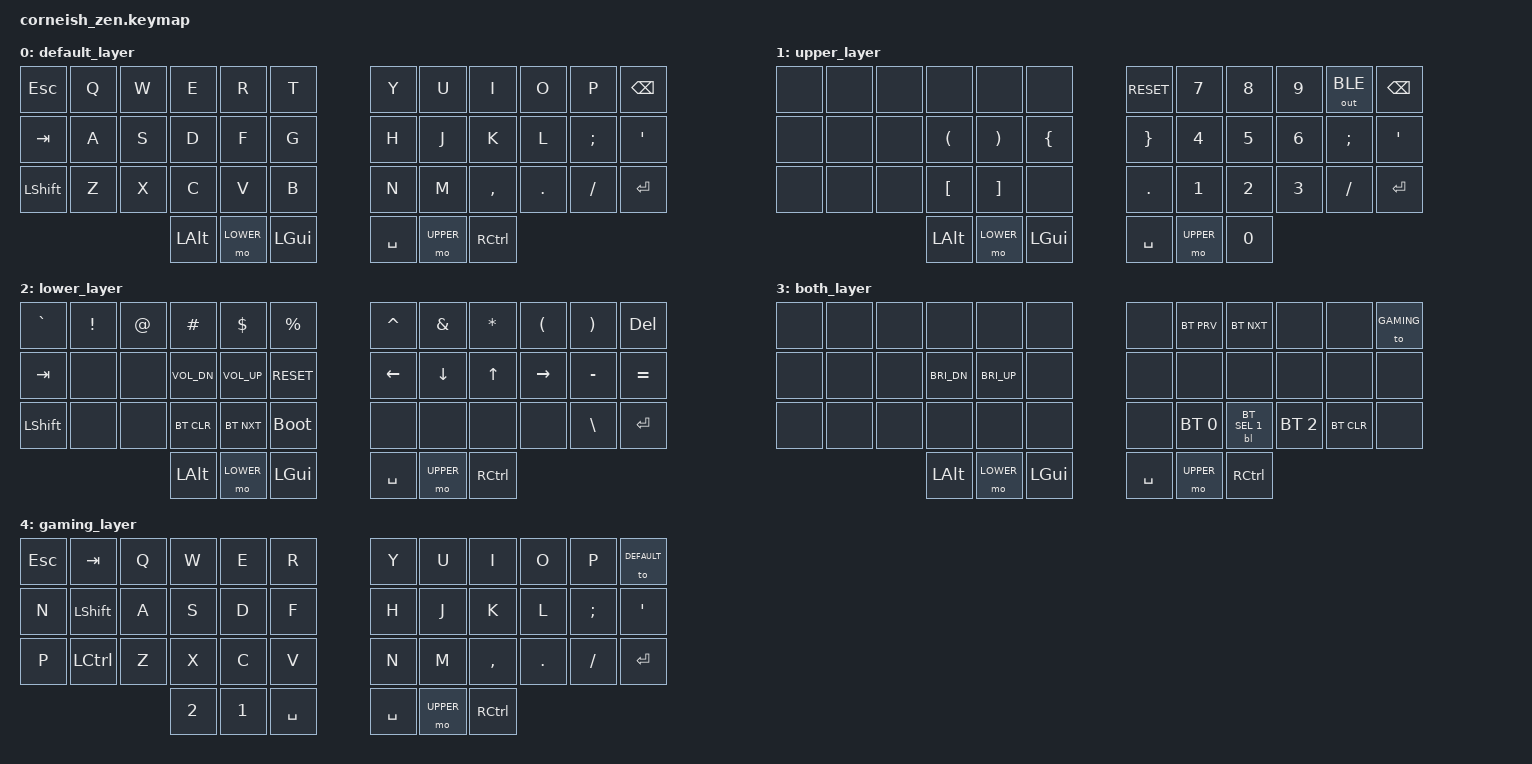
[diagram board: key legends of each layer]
/*
*
* Copyright (c) 2021 Darryl deHaan
* SPDX-License-Identifier: MIT
*
*/

#include <behaviors.dtsi>
#include <dt-bindings/zmk/keys.h>
#include <dt-bindings/zmk/bt.h>

#define DEFAULT 0
#define UPPER 1
#define LOWER 2
#define BOTH 3
#define GAMING 4

/ {
    chosen {
        zmk,matrix-transform = &default_transform;
        // zmk,matrix-transform = &five_column_transform;
    };
};

/ {

    conditional_layers {
        compatible = "zmk,conditional-layers";
        try_layer {
            if-layers = <1 2>;
            then-layer = <3>;
        };
    };

    keymap {
        compatible = "zmk,keymap";

        default_layer {
// --------------------------------------------------------------------------------------------------------------------------------------------------------------------
// |   ESC   |    Q    |    W    |    E    |    R    |    T    |                                          |    Y    |    U    |    I    |    O    |    P    |   BACK  |
// |   TAB   |    A    |    S    |    D    |    F    |    G    |                                          |    H    |    J    |    K    |    L    |    ;    |    '    |
// |  SHIFT  |    Z    |    X    |    C    |    V    |    B    |                                          |    N    |    M    |    ,    |    .    |    /    |  RETURN |
//           |         |         |   ALT   |  LOWER  |   CMD   |                                          |  SPACE  |  UPPER  |   CTRL  |         |         |
            bindings = <
    &kp ESC    &kp Q    &kp W      &kp E    &kp R     &kp T                                                 &kp Y     &kp U     &kp I     &kp O    &kp P     &kp BSPC
    &kp TAB    &kp A    &kp S      &kp D    &kp F     &kp G                                                 &kp H     &kp J     &kp K     &kp L    &kp SEMI  &kp SQT
    &kp LSHIFT &kp Z    &kp X      &kp C    &kp V     &kp B                                                 &kp N     &kp M     &kp COMMA &kp DOT  &kp FSLH  &kp RET
                                   &kp LALT &mo LOWER &kp LGUI                                              &kp SPACE &mo UPPER &kp RCTRL
            >;

        };

        upper_layer {
// --------------------------------------------------------------------------------------------------------------------------------------------------------------------
// |         |         |         |         |         |         |                                          |  RESET  |    7    |    8    |    9    |         |   BACK  |
// |         |         |         |    (    |    )    |    {    |                                          |    }    |    4    |    5    |    6    |    ;    |    '    |
// |         |         |         |    [    |    ]    |         |                                          |    .    |    1    |    2    |    3    |    /    |  RETURN |
//           |         |         |   ALT   |  LOWER  |   CMD   |                                          |  SPACE  |  UPPER  |    0    |         |         |
            bindings = <
    &none      &none    &none      &none    &none     &none                                                 &kp C_RESET &kp N7    &kp N8    &kp N9   &out OUT_BLE  &kp BSPC
    &none      &none    &none      &kp LPAR &kp RPAR  &kp LBRC                                              &kp RBRC    &kp N4    &kp N5    &kp N6   &kp SEMI  &kp SQT
    &none      &none    &none      &kp LBKT &kp RBKT  &none                                                 &kp DOT     &kp N1    &kp N2    &kp N3   &kp FSLH  &kp RET
                                   &kp LALT &mo LOWER &kp LGUI                                              &kp SPACE   &mo UPPER &kp N0
            >;

        };


        lower_layer {
// --------------------------------------------------------------------------------------------------------------------------------------------------------------------
// |    `    |    !    |    @    |    #    |    $    |    %    |                                          |    ^    |    &    |    *    |    (    |    )    |   DEL   |
// |         |         |         |    (    |    )    |    {    |                                          |  LEFT   |  DOWN   |    UP   |  RIGHT  |    -    |    =    |
// |         |         |         |    [    |    ]    |         |                                          |         |         |         |         |    \    |  RETURN |
//           |         |         |   ALT   |  LOWER  |   CMD   |                                          |  SPACE  |  UPPER  |   CTRL  |         |         |
            bindings = <
    &kp GRAVE  &kp EXCL   &kp AT     &kp HASH     &kp DLLR     &kp PRCNT                                     &kp CARET &kp AMPS   &kp STAR  &kp LPAR  &kp RPAR  &kp DEL
    &kp TAB    &none      &none      &kp K_VOL_DN &kp K_VOL_UP &kp C_RESET                                   &kp LEFT  &kp DOWN   &kp UP    &kp RIGHT &kp MINUS &kp EQUAL
    &kp LSHIFT &none      &none      &bt BT_CLR   &bt BT_NXT   &bootloader                                   &none     &none      &none     &none     &kp BSLH  &kp RET
                                     &kp LALT     &mo LOWER    &kp LGUI                                      &kp SPACE &mo UPPER  &kp RCTRL
            >;

        };

        both_layer {
// --------------------------------------------------------------------------------------------------------------------------------------------------------------------
// |         |         |         |         |         |         |                                          |    Y    |  BT_PRV |  BT_NXT |         |         |         |
// |         |         |         |  BRI_DN |  BRI_UP |         |                                          |    H    |         |         |         |         |         |
// |         |         |         |         |         |         |                                          |    N    |   BT0   |   BT1   |   BT2   |         |         |
//           |         |         |   ALT   |  LOWER  |   CMD   |                                          |  SPACE  |  UPPER  |   CTRL  |         |         |
            bindings = <
    &none       &none      &none   &none       &none     &none                                               &none     &bt BT_PRV   &bt BT_NXT   &none        &none  &to GAMING
    &none       &none      &none   &kp C_BRI_DN &kp C_BRI_UP &none                                           &none     &none        &none        &none        &none  &none
    &none       &none      &none   &none       &none     &none                                               &none     &bt BT_SEL 0 &bl BT_SEL 1 &bt BT_SEL 2 &bt BT_CLR  &none
                                   &kp LALT    &mo LOWER &kp LGUI                                            &kp SPACE &mo UPPER    &kp RCTRL
            >;
        };

        gaming_layer {
// --------------------------------------------------------------------------------------------------------------------------------------------------------------------
// |   ESC   |   TAB   |    Q    |    W    |    E    |    R    |                                          |    Y    |    U    |    I    |    O    |    P    |   BACK  |
// |    N    |  SHIFT  |    A    |    S    |    D    |    F    |                                          |    H    |    J    |    K    |    L    |    ;    |    '    |
// |    P    |  LCTRL  |    Z    |    X    |    C    |    V    |                                          |    N    |    M    |    ,    |    .    |    /    |  RETURN |
//           |         |         |    2    |    1    |  SPACE  |                                          |  SPACE  |  UPPER  |   CTRL  |         |         |
            bindings = <
    &kp ESC    &kp TAB    &kp Q      &kp W    &kp E     &kp R                                                &kp Y     &kp U     &kp I     &kp O    &kp P     &to DEFAULT
    &kp N      &kp LSHIFT &kp A      &kp S    &kp D     &kp F                                                &kp H     &kp J     &kp K     &kp L    &kp SEMI  &kp SQT
    &kp P      &kp LCTRL  &kp Z      &kp X    &kp C     &kp V                                                &kp N     &kp M     &kp COMMA &kp DOT  &kp FSLH  &kp RET
                                     &kp N2   &kp N1    &kp SPACE                                            &kp SPACE &mo UPPER &kp RCTRL
            >;

        };
    };
};
